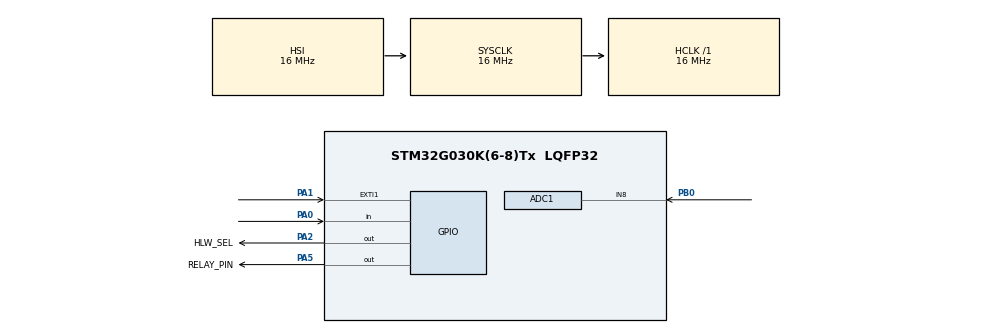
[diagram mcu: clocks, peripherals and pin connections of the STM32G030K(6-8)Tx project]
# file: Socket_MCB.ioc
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ADC1.Channel-1\#ChannelRegularConversion=ADC_CHANNEL_8
ADC1.NbrOfConversionFlag=1
ADC1.Rank-1\#ChannelRegularConversion=1
ADC1.SamplingTime-1\#ChannelRegularConversion=ADC_SAMPLINGTIME_COMMON_1
ADC1.SamplingTimeCommon1=ADC_SAMPLETIME_79CYCLES_5
ADC1.SamplingTimeCommon2=ADC_SAMPLETIME_79CYCLES_5
ADC1.SelectedChannel=ADC_CHANNEL_8
ADC1.master=1
Mcu.Family=STM32G0
Mcu.Name=STM32G030K(6-8)Tx
Mcu.Package=LQFP32
NVIC.EXTI0_1_IRQn=true\:0\:0\:false\:false\:true\:true\:true\:true
PA0.Signal=GPIO_Input
PA1.Signal=GPXTI1
PA2.GPIO_Label=HLW_SEL
PA2.Signal=GPIO_Output
PA5.GPIO_Label=RELAY_PIN
PA5.Signal=GPIO_Output
PB0.Mode=IN8
PB0.Signal=ADC1_IN8
ProjectManager.HeapSize=0x200
ProjectManager.StackSize=0x400
ProjectManager.TargetToolchain=STM32CubeIDE
RCC.AHBFreq_Value=16000000
RCC.CortexFreq_Value=16000000
RCC.EXTERNAL_CLOCK_VALUE=12288000
RCC.HCLKFreq_Value=16000000
RCC.HSE_VALUE=8000000
RCC.HSI_VALUE=16000000
RCC.LSE_VALUE=32768
RCC.SYSCLKFreq_VALUE=16000000
RCC.VCOOutputFreq_Value=128000000
TIM3.Prescaler=15
VP_TIM3_VS_ClockSourceINT.Mode=Internal
board=custom

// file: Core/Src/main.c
/* USER CODE BEGIN Header */
/**
  ******************************************************************************
  * @file           : main.c
  * @brief          : Main program body
  ******************************************************************************
  * @attention
  *
  * Copyright (c) 2026 STMicroelectronics.
  * All rights reserved.
  *
  * This software is licensed under terms that can be found in the LICENSE file
  * in the root directory of this software component.
  * If no LICENSE file comes with this software, it is provided AS-IS.
  *
  ******************************************************************************
  */
/* USER CODE END Header */
#include "main.h"

/* USER CODE BEGIN Includes */
#include <math.h>
/* USER CODE END Includes */

/* USER CODE BEGIN PD */

// --- Safety Thresholds ---
#define MAX_SAFE_TEMP_C 80.0
#define OVERCURRENT_PERIOD_US 2000 // The formula f_CF1 = (48 * V1 * F_OSC) / (V_REF^2 * 512) varies by component tolerance.
// Measure the actual CF1 period at 16A on your specific PCB before deploying.

// --- Constants ---
#define NTC_SERIES_RESISTOR 10000.0
#define NTC_NOMINAL_RESISTANCE 10000.0
#define NTC_BETA_VALUE 3950.0
#define NOMINAL_TEMP_K 298.15

/* USER CODE END PD */

ADC_HandleTypeDef hadc1;

TIM_HandleTypeDef htim3;

/* USER CODE BEGIN PV */

volatile uint8_t flag_measure_temp = 0;
volatile uint32_t last_systick = 0;

volatile uint16_t last_time = 0;
volatile uint16_t pulse_period = 0;// NOTE: pulse_period is 16-bit. On Cortex-M0+, 16-bit reads are atomic.
// Safe to read in main loop without __disable_irq(), but do not change to 32-bit without adding critical sections.
volatile uint32_t last_pulse_tick = 0;
volatile uint8_t sensor_fault_flagged = 0; // State machine flag for zero-load
/* USER CODE END PV */

void SystemClock_Config(void);
static void MX_GPIO_Init(void);
static void MX_ADC1_Init(void);
static void MX_TIM3_Init(void);
/* USER CODE BEGIN PFP */
void Process_Temperature(void);
void Emergency_Cutoff(void);
/* USER CODE END PFP */

int main(void)
{

  /* MCU Configuration--------------------------------------------------------*/

  /* Reset of all peripherals, Initializes the Flash interface and the Systick. */
  HAL_Init();

  /* Configure the system clock */
  SystemClock_Config();

  /* USER CODE BEGIN SysInit */
  // Demote SysTick priority so EXTI0_1_IRQn (Priority 0) can preempt it safely.
  // This prevents jitter in the hard-real-time overcurrent detection.
  HAL_NVIC_SetPriority(SysTick_IRQn, 1, 0);
  /* USER CODE END SysInit */

  /* Initialize all configured peripherals */
  MX_GPIO_Init();
  MX_ADC1_Init();
  MX_TIM3_Init();
  /* USER CODE BEGIN 2 */
  // Start the background stopwatch (TIM3)
  HAL_TIM_Base_Start(&htim3);

  // Wait 500ms for power supplies and the HLW8012 oscillator to fully stabilize.
  HAL_Delay(500);

  // Calibrate ADC before use for accurate temperature readings
  HAL_ADCEx_Calibration_Start(&hadc1);

  // Turn ON Relay initially (PA5)
  HAL_GPIO_WritePin(GPIOA, RELAY_PIN_Pin, GPIO_PIN_SET);

  // Set HLW8012 SEL Pin HIGH to monitor CURRENT on CF1 (PA2)
  HAL_GPIO_WritePin(GPIOA, HLW_SEL_Pin, GPIO_PIN_SET);
  /* USER CODE END 2 */

  /* Infinite loop */
  /* USER CODE BEGIN WHILE */
  while (1)
  {
	  // --- EVENT SCHEDULER ---
	        uint32_t now = HAL_GetTick(); // Single snapshot for the entire loop iteration

	        if ((now - last_systick) >= 100) {
	            last_systick = now;
	            flag_measure_temp = 1;
	        }

	        // --- BACKGROUND TASKS ---
	        if (flag_measure_temp) {
	            Process_Temperature();
	            flag_measure_temp = 0;
	        }

	        // --- SENSOR WATCHDOG ---
	        // If running for >500ms, no pulse in 5 seconds, and we haven't already flagged it...
	        if ((now > 500) && ((now - last_pulse_tick) > 5000) && !sensor_fault_flagged) {
	            sensor_fault_flagged = 1; // Latch the flag so this only fires once

	            // Zero pulses could mean 0A (no load), OR a dead HLW8012 IC.
	            // Toggle a warning LED or send a UART alert. Do NOT cut off power.
	        }
    /* USER CODE END WHILE */

  }
}

void SystemClock_Config(void)
{
  RCC_OscInitTypeDef RCC_OscInitStruct = {0};
  RCC_ClkInitTypeDef RCC_ClkInitStruct = {0};

  /** Configure the main internal regulator output voltage
  */
  HAL_PWREx_ControlVoltageScaling(PWR_REGULATOR_VOLTAGE_SCALE1);

  /** Initializes the RCC Oscillators according to the specified parameters
  * in the RCC_OscInitTypeDef structure.
  */
  RCC_OscInitStruct.OscillatorType = RCC_OSCILLATORTYPE_HSI;
  RCC_OscInitStruct.HSIState = RCC_HSI_ON;
  RCC_OscInitStruct.HSIDiv = RCC_HSI_DIV1;
  RCC_OscInitStruct.HSICalibrationValue = RCC_HSICALIBRATION_DEFAULT;
  RCC_OscInitStruct.PLL.PLLState = RCC_PLL_NONE;
  if (HAL_RCC_OscConfig(&RCC_OscInitStruct) != HAL_OK)
  {
    Error_Handler();
  }

  /** Initializes the CPU, AHB and APB buses clocks
  */
  RCC_ClkInitStruct.ClockType = RCC_CLOCKTYPE_HCLK|RCC_CLOCKTYPE_SYSCLK
                              |RCC_CLOCKTYPE_PCLK1;
  RCC_ClkInitStruct.SYSCLKSource = RCC_SYSCLKSOURCE_HSI;
  RCC_ClkInitStruct.AHBCLKDivider = RCC_SYSCLK_DIV1;
  RCC_ClkInitStruct.APB1CLKDivider = RCC_HCLK_DIV1;

  if (HAL_RCC_ClockConfig(&RCC_ClkInitStruct, FLASH_LATENCY_0) != HAL_OK)
  {
    Error_Handler();
  }
}

static void MX_ADC1_Init(void)
{

  ADC_ChannelConfTypeDef sConfig = {0};

  /** Configure the global features of the ADC (Clock, Resolution, Data Alignment and number of conversion)
  */
  hadc1.Instance = ADC1;
  hadc1.Init.ClockPrescaler = ADC_CLOCK_SYNC_PCLK_DIV2;
  hadc1.Init.Resolution = ADC_RESOLUTION_12B;
  hadc1.Init.DataAlign = ADC_DATAALIGN_RIGHT;
  hadc1.Init.ScanConvMode = ADC_SCAN_DISABLE;
  hadc1.Init.EOCSelection = ADC_EOC_SINGLE_CONV;
  hadc1.Init.LowPowerAutoWait = DISABLE;
  hadc1.Init.LowPowerAutoPowerOff = DISABLE;
  hadc1.Init.ContinuousConvMode = DISABLE;
  hadc1.Init.NbrOfConversion = 1;
  hadc1.Init.DiscontinuousConvMode = DISABLE;
  hadc1.Init.ExternalTrigConv = ADC_SOFTWARE_START;
  hadc1.Init.ExternalTrigConvEdge = ADC_EXTERNALTRIGCONVEDGE_NONE;
  hadc1.Init.DMAContinuousRequests = DISABLE;
  hadc1.Init.Overrun = ADC_OVR_DATA_PRESERVED;
  hadc1.Init.SamplingTimeCommon1 = ADC_SAMPLETIME_79CYCLES_5;
  hadc1.Init.SamplingTimeCommon2 = ADC_SAMPLETIME_79CYCLES_5;
  hadc1.Init.OversamplingMode = DISABLE;
  hadc1.Init.TriggerFrequencyMode = ADC_TRIGGER_FREQ_HIGH;
  if (HAL_ADC_Init(&hadc1) != HAL_OK)
  {
    Error_Handler();
  }

  /** Configure Regular Channel
  */
  sConfig.Channel = ADC_CHANNEL_8;
  sConfig.Rank = ADC_REGULAR_RANK_1;
  sConfig.SamplingTime = ADC_SAMPLINGTIME_COMMON_1;
  if (HAL_ADC_ConfigChannel(&hadc1, &sConfig) != HAL_OK)
  {
    Error_Handler();
  }

}

static void MX_TIM3_Init(void)
{

  TIM_ClockConfigTypeDef sClockSourceConfig = {0};
  TIM_MasterConfigTypeDef sMasterConfig = {0};

  htim3.Instance = TIM3;
  htim3.Init.Prescaler = 15;
  htim3.Init.CounterMode = TIM_COUNTERMODE_UP;
  htim3.Init.Period = 65535;
  htim3.Init.ClockDivision = TIM_CLOCKDIVISION_DIV1;
  htim3.Init.AutoReloadPreload = TIM_AUTORELOAD_PRELOAD_DISABLE;
  if (HAL_TIM_Base_Init(&htim3) != HAL_OK)
  {
    Error_Handler();
  }
  sClockSourceConfig.ClockSource = TIM_CLOCKSOURCE_INTERNAL;
  if (HAL_TIM_ConfigClockSource(&htim3, &sClockSourceConfig) != HAL_OK)
  {
    Error_Handler();
  }
  sMasterConfig.MasterOutputTrigger = TIM_TRGO_RESET;
  sMasterConfig.MasterSlaveMode = TIM_MASTERSLAVEMODE_DISABLE;
  if (HAL_TIMEx_MasterConfigSynchronization(&htim3, &sMasterConfig) != HAL_OK)
  {
    Error_Handler();
  }

}

static void MX_GPIO_Init(void)
{
  GPIO_InitTypeDef GPIO_InitStruct = {0};

  /* GPIO Ports Clock Enable */
  __HAL_RCC_GPIOA_CLK_ENABLE();
  __HAL_RCC_GPIOB_CLK_ENABLE();

  /*Configure GPIO pin Output Level */
  HAL_GPIO_WritePin(GPIOA, HLW_SEL_Pin|RELAY_PIN_Pin, GPIO_PIN_RESET);

  /*Configure GPIO pin : PA0 */
  GPIO_InitStruct.Pin = GPIO_PIN_0;
  GPIO_InitStruct.Mode = GPIO_MODE_INPUT;
  GPIO_InitStruct.Pull = GPIO_NOPULL;
  HAL_GPIO_Init(GPIOA, &GPIO_InitStruct);

  /*Configure GPIO pin : PA1 */
  GPIO_InitStruct.Pin = GPIO_PIN_1;
  GPIO_InitStruct.Mode = GPIO_MODE_IT_RISING;
  GPIO_InitStruct.Pull = GPIO_NOPULL;
  HAL_GPIO_Init(GPIOA, &GPIO_InitStruct);

  /*Configure GPIO pins : HLW_SEL_Pin RELAY_PIN_Pin */
  GPIO_InitStruct.Pin = HLW_SEL_Pin|RELAY_PIN_Pin;
  GPIO_InitStruct.Mode = GPIO_MODE_OUTPUT_PP;
  GPIO_InitStruct.Pull = GPIO_NOPULL;
  GPIO_InitStruct.Speed = GPIO_SPEED_FREQ_LOW;
  HAL_GPIO_Init(GPIOA, &GPIO_InitStruct);

  /* EXTI interrupt init*/
  HAL_NVIC_SetPriority(EXTI0_1_IRQn, 0, 0);
  HAL_NVIC_EnableIRQ(EXTI0_1_IRQn);

}

/* USER CODE BEGIN 4 */
// --- The Critical Path: Input Capture Interrupt ---
// This triggers the nanosecond a pulse edge arrives from the HLW8012

// --- NTC Temperature Process (PB0) ---
void Process_Temperature(void) {
    // Polling ADC here is fine because it's a fast peripheral and
    // we only call this every 100ms from the event scheduler.
    // (For pure non-blocking, you could use DMA, but it's overkill for one NTC)
    HAL_ADC_Start(&hadc1);
    if (HAL_ADC_PollForConversion(&hadc1, 5) == HAL_OK) {
        uint32_t adc_value = HAL_ADC_GetValue(&hadc1);

        if (adc_value > 0 && adc_value < 4095) {
        	float r_ntc = NTC_SERIES_RESISTOR * ((float)adc_value / (4095.0 - (float)adc_value));
            float temp_k = 1.0 / ((1.0 / NOMINAL_TEMP_K) + (1.0 / NTC_BETA_VALUE) * log(r_ntc / NTC_NOMINAL_RESISTANCE));
            float temp_c = temp_k - 273.15;

            // Check for overheating
            if (temp_c > MAX_SAFE_TEMP_C) {
                Emergency_Cutoff();
            }
        }
    }
    HAL_ADC_Stop(&hadc1);
}

// --- Emergency Cutoff ---
void Emergency_Cutoff(void) {
    // Break the circuit instantly
	HAL_GPIO_WritePin(GPIOA, RELAY_PIN_Pin, GPIO_PIN_RESET);

    // Disable interrupts to freeze the system state
    __disable_irq();

    // Latch off until manual reset
    while(1) {
    	// Non-interrupt blocking delay for a fault LED (assuming PA4 is an LED)
		// HAL_GPIO_TogglePin(GPIOA, GPIO_PIN_4);
		// for(volatile uint32_t i = 0; i < 1000000; i++) {}
    }
}

void HAL_GPIO_EXTI_Rising_Callback(uint16_t GPIO_Pin) {
    if (GPIO_Pin == GPIO_PIN_1) { // PA1 (CF1 Pulse)
    	uint16_t current_time = __HAL_TIM_GET_COUNTER(&htim3);

		// A pulse arrived! Clear the zero-load watchdog flag
		sensor_fault_flagged = 0;

		// Time-based lockout. Ignore all pulses during the 500ms startup settling phase.
		if (HAL_GetTick() < 500) {
			last_time = current_time;
			last_pulse_tick = HAL_GetTick();
			return;
		}

		if (current_time >= last_time) {
			pulse_period = current_time - last_time;
		} else {
			pulse_period = (0xFFFF - last_time) + current_time + 1;
		}

		last_time = current_time;
		last_pulse_tick = HAL_GetTick();

		if (pulse_period < OVERCURRENT_PERIOD_US) {
			Emergency_Cutoff();
		}
    }
}
/* USER CODE END 4 */

void Error_Handler(void)
{
  __disable_irq();
  while (1)
  {
  }
}
